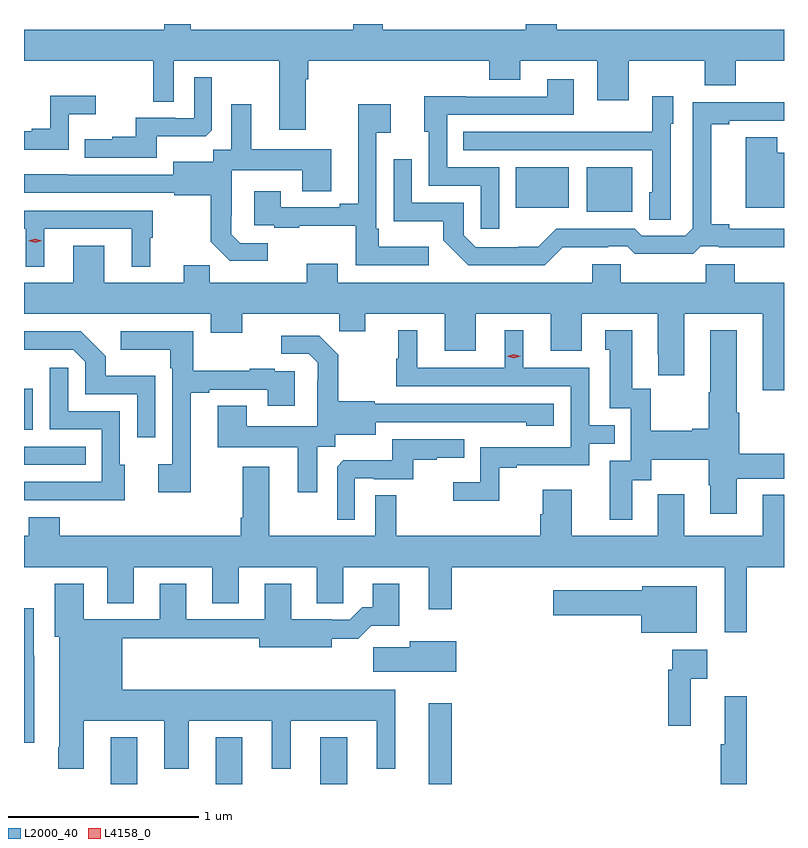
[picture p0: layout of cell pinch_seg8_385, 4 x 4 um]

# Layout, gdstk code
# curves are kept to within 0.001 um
import gdstk
lib = gdstk.Library(unit=1e-6, precision=1e-09)
def R(c, l, rs):  # rectangles x0, y0, x1, y1
    for r in rs: c.add(gdstk.rectangle(r[:2], r[2:], *l))
def A(c, l, x, y, w, h, nx, ny, dx, dy):  # array of equal rectangles
    R(c, l, [(x+i*dx, y+j*dy, x+i*dx+w, y+j*dy+h) for i in range(nx) for j in range(ny)])
def P(c, l, *ps):  # polygons
    for p in ps: c.add(gdstk.Polygon(p, *l))
L2000_40 = (2000, 40)
L4158_0 = (4158, 0)

pinch_seg8_385 = lib.new_cell('pinch_seg8_385')
A(pinch_seg8_385, L2000_40, 412.979, 1103.37, 0.14, 0.247, 3, 1, 0.552, 0)
R(pinch_seg8_385, L2000_40, [(414.653,1103.37,414.775,1103.794), (412.523,1105.05,412.847,1105.146), (412.523,1105.235,412.57,1105.45), (415.484,1106.381,415.723,1106.617), (415.112,1106.402,415.39,1106.617)])
P(pinch_seg8_385, L2000_40, [(414.007,1107.08),(414.02,1107.08),(414.02,1107.176),(414.971,1107.176),(414.971,1107.077),(415.135,1107.077),(415.135,1107.176),(415.541,1107.176),(415.541,1106.97),(415.705,1106.97),(415.705,1107.176),(416.105,1107.176),(416.105,1107.048),(416.269,1107.048),(416.269,1107.176),(416.523,1107.176),(416.523,1107.34),(415.328,1107.34),(415.328,1107.37),(415.163,1107.37),(415.163,1107.34),(414.41,1107.34),(414.41,1107.37),(414.257,1107.37),(414.257,1107.34),(413.401,1107.34),(413.401,1107.37),(413.262,1107.37),(413.262,1107.34),(412.523,1107.34),(412.523,1107.176),(413.202,1107.176),(413.202,1106.962),(413.31,1106.962),(413.31,1107.176),(413.867,1107.176),(413.867,1106.814),(414.007,1106.814)],
  [(413.221,1106.78),(413.479,1106.78),(413.511,1106.811),(413.511,1107.091),(413.418,1107.091),(413.418,1106.874),(413.318,1106.874),(413.318,1106.877),(413.111,1106.877),(413.111,1106.776),(412.987,1106.776),(412.987,1106.764),(412.843,1106.764),(412.843,1106.667),(413.221,1106.667)],
  [(415.023,1106.616),(414.75,1106.616),(414.75,1106.892),(415.417,1106.892),(415.417,1107.079),(415.277,1107.079),(415.277,1106.988),(414.847,1106.988),(414.847,1106.99),(414.629,1106.99),(414.629,1106.802),(414.654,1106.802),(414.654,1106.52),(414.927,1106.52),(414.927,1106.292),(415.023,1106.292)],
  [(412.758,1106.894),(412.9,1106.894),(412.9,1106.993),(412.66,1106.993),(412.66,1106.818),(412.565,1106.818),(412.565,1106.805),(412.523,1106.805),(412.523,1106.709),(412.758,1106.709)],
  [(415.926,1106.844),(415.939,1106.844),(415.939,1106.989),(415.83,1106.989),(415.83,1106.803),(415.513,1106.803),(415.513,1106.802),(414.835,1106.802),(414.835,1106.706),(415.83,1106.706),(415.83,1106.484),(415.814,1106.484),(415.814,1106.341),(415.926,1106.341)],
  [(415.358,1106.195),(415.598,1106.195),(415.598,1106.199),(415.698,1106.199),(415.738,1106.16),(416.045,1106.16),(416.085,1106.199),(416.179,1106.199),(416.179,1106.195),(416.523,1106.195),(416.523,1106.292),(416.236,1106.292),(416.236,1106.315),(416.141,1106.315),(416.141,1106.842),(416.236,1106.842),(416.236,1106.862),(416.523,1106.862),(416.523,1106.958),(416.043,1106.958),(416.043,1106.295),(416.004,1106.256),(415.773,1106.256),(415.737,1106.292),(415.323,1106.292),(415.229,1106.198),(415.124,1106.198),(415.124,1106.196),(414.9,1106.196),(414.837,1106.259),(414.837,1106.43),(414.564,1106.43),(414.564,1106.659),(414.468,1106.659),(414.468,1106.333),(414.73,1106.333),(414.73,1106.231),(414.86,1106.1),(415.263,1106.1)],
  [(413.806,1106.217),(413.661,1106.217),(413.614,1106.264),(413.614,1106.359),(413.616,1106.359),(413.616,1106.6),(413.987,1106.6),(413.987,1106.491),(414.139,1106.491),(414.139,1106.71),(413.719,1106.71),(413.719,1106.947),(413.615,1106.947),(413.615,1106.708),(413.52,1106.708),(413.52,1106.644),(413.309,1106.644),(413.309,1106.577),(412.523,1106.578),(412.523,1106.481),(413.313,1106.481),(413.313,1106.469),(413.505,1106.469),(413.505,1106.223),(413.605,1106.123),(413.806,1106.123)],
  [(414.652,1106.197),(414.391,1106.197),(414.391,1106.293),(414.378,1106.293),(414.378,1106.798),(414.454,1106.798),(414.454,1106.947),(414.281,1106.947),(414.281,1106.425),(414.185,1106.425),(414.185,1106.406),(413.875,1106.406),(413.875,1106.491),(413.735,1106.491),(413.735,1106.31),(413.839,1106.31),(413.839,1106.298),(413.971,1106.298),(413.971,1106.309),(414.27,1106.309),(414.27,1106.1),(414.652,1106.1)],
  [(416.523,1106.692),(416.487,1106.692),(416.487,1106.773),(416.321,1106.773),(416.321,1106.402),(416.523,1106.402)],
  [(412.63,1106.292),(413.09,1106.292),(413.09,1106.093),(413.188,1106.093),(413.188,1106.244),(413.2,1106.244),(413.2,1106.388),(412.523,1106.388),(412.523,1106.292),(412.532,1106.292),(412.532,1106.093),(412.63,1106.093)],
  [(416.523,1106.008),(416.265,1106.008),(416.265,1106.106),(416.11,1106.106),(416.11,1106.008),(415.665,1106.008),(415.665,1106.106),(415.514,1106.106),(415.514,1106.008),(414.175,1106.008),(414.175,1106.107),(414.011,1106.107),(414.011,1106.008),(413.501,1106.008),(413.501,1106.099),(413.363,1106.099),(413.363,1106.008),(412.945,1106.008),(412.945,1106.203),(412.781,1106.203),(412.781,1106.008),(412.523,1106.008),(412.523,1105.844),(413.507,1105.844),(413.507,1105.745),(413.671,1105.745),(413.671,1105.844),(414.181,1105.844),(414.181,1105.754),(414.319,1105.754),(414.319,1105.844),(414.737,1105.844),(414.737,1105.65),(414.901,1105.65),(414.901,1105.844),(415.295,1105.844),(415.295,1105.65),(415.459,1105.65),(415.459,1105.844),(415.859,1105.844),(415.859,1105.633),(415.862,1105.633),(415.862,1105.521),(415.999,1105.521),(415.999,1105.844),(416.411,1105.844),(416.411,1105.443),(416.523,1105.443)],
  [(415.723,1104.97),(415.825,1104.97),(415.825,1105.076),(416.128,1105.076),(416.128,1104.942),(416.135,1104.942),(416.135,1104.792),(416.275,1104.792),(416.275,1104.977),(416.523,1104.977),(416.523,1105.107),(416.288,1105.107),(416.288,1105.324),(416.275,1105.324),(416.275,1105.759),(416.135,1105.759),(416.135,1105.433),(416.128,1105.433),(416.128,1105.241),(416.039,1105.241),(416.039,1105.228),(415.821,1105.228),(415.821,1105.451),(415.723,1105.451),(415.723,1105.759),(415.583,1105.759),(415.583,1105.656),(415.607,1105.656),(415.607,1105.347),(415.716,1105.347),(415.716,1105.071),(415.607,1105.071),(415.607,1104.762),(415.723,1104.762)],
  [(415.023,1105.035),(415.117,1105.035),(415.117,1105.047),(415.497,1105.047),(415.497,1105.161),(415.631,1105.161),(415.631,1105.257),(415.497,1105.257),(415.497,1105.56),(415.15,1105.56),(415.15,1105.759),(415.052,1105.759),(415.052,1105.56),(414.592,1105.56),(414.592,1105.759),(414.494,1105.759),(414.494,1105.608),(414.483,1105.608),(414.483,1105.464),(415.401,1105.464),(415.401,1105.143),(414.924,1105.143),(414.924,1104.958),(414.783,1104.958),(414.783,1104.86),(415.023,1104.86)],
  [(413.214,1105.519),(412.953,1105.519),(412.953,1105.622),(412.822,1105.752),(412.523,1105.752),(412.523,1105.655),(412.782,1105.656),(412.845,1105.593),(412.845,1105.422),(413.118,1105.422),(413.118,1105.194),(413.214,1105.194)],
  [(413.401,1105.428),(413.497,1105.428),(413.497,1105.446),(413.807,1105.446),(413.807,1105.362),(413.947,1105.362),(413.947,1105.542),(413.843,1105.542),(413.843,1105.555),(413.711,1105.555),(413.711,1105.544),(413.413,1105.544),(413.413,1105.752),(413.031,1105.752),(413.031,1105.655),(413.292,1105.655),(413.292,1105.559),(413.304,1105.559),(413.304,1105.054),(413.229,1105.054),(413.229,1104.906),(413.401,1104.906)],
  [(414.067,1105.144),(414.162,1105.144),(414.162,1105.208),(414.373,1105.208),(414.373,1105.275),(415.167,1105.274),(415.167,1105.256),(415.312,1105.256),(415.312,1105.371),(414.369,1105.371),(414.369,1105.384),(414.177,1105.384),(414.177,1105.629),(414.077,1105.729),(413.877,1105.729),(413.877,1105.635),(414.021,1105.635),(414.068,1105.588),(414.068,1105.493),(414.066,1105.493),(414.066,1105.252),(413.695,1105.252),(413.695,1105.361),(413.543,1105.361),(413.543,1105.142),(413.963,1105.142),(413.963,1104.906),(414.067,1104.906)],
  [(413.053,1105.05),(413.028,1105.05),(413.028,1105.332),(412.755,1105.332),(412.755,1105.561),(412.659,1105.561),(412.659,1105.236),(412.932,1105.236),(412.932,1104.96),(412.523,1104.96),(412.523,1104.864),(412.835,1104.864),(412.835,1104.863),(413.053,1104.863)],
  [(414.264,1104.978),(414.364,1104.978),(414.364,1104.975),(414.572,1104.975),(414.572,1105.077),(414.695,1105.077),(414.695,1105.088),(414.839,1105.088),(414.839,1105.185),(414.462,1105.185),(414.462,1105.073),(414.203,1105.073),(414.171,1105.041),(414.171,1104.761),(414.264,1104.761)],
  [(415.999,1104.895),(415.859,1104.895),(415.859,1104.676),(415.405,1104.676),(415.405,1104.919),(415.253,1104.919),(415.253,1104.789),(415.241,1104.789),(415.241,1104.676),(414.481,1104.676),(414.481,1104.89),(414.372,1104.89),(414.372,1104.676),(413.815,1104.676),(413.815,1105.039),(413.675,1105.039),(413.675,1104.772),(413.663,1104.772),(413.663,1104.676),(412.711,1104.676),(412.711,1104.775),(412.547,1104.775),(412.547,1104.676),(412.523,1104.676),(412.523,1104.512),(412.961,1104.512),(412.961,1104.322),(413.101,1104.322),(413.101,1104.512),(413.513,1104.512),(413.513,1104.322),(413.653,1104.322),(413.653,1104.512),(414.065,1104.512),(414.065,1104.322),(414.204,1104.322),(414.204,1104.512),(414.653,1104.512),(414.653,1104.291),(414.775,1104.291),(414.775,1104.512),(416.21,1104.512),(416.21,1104.168),(416.327,1104.168),(416.327,1104.512),(416.523,1104.512),(416.523,1104.892),(416.411,1104.892),(416.411,1104.676),(415.999,1104.676)],
  [(412.837,1103.702),(413.261,1103.702),(413.261,1103.451),(413.389,1103.451),(413.389,1103.702),(413.828,1103.702),(413.828,1103.451),(413.926,1103.451),(413.926,1103.702),(414.38,1103.702),(414.38,1103.451),(414.478,1103.451),(414.478,1103.866),(413.041,1103.866),(413.041,1104.136),(413.762,1104.136),(413.762,1104.089),(414.142,1104.089),(414.142,1104.134),(414.281,1104.134),(414.35,1104.203),(414.499,1104.203),(414.499,1104.424),(414.359,1104.424),(414.359,1104.301),(414.304,1104.301),(414.237,1104.234),(414.143,1104.234),(414.143,1104.237),(413.929,1104.237),(413.929,1104.424),(413.789,1104.424),(413.789,1104.237),(413.377,1104.237),(413.377,1104.424),(413.237,1104.424),(413.237,1104.237),(412.837,1104.237),(412.837,1104.424),(412.685,1104.424),(412.685,1104.144),(412.709,1104.144),(412.709,1103.563),(412.702,1103.563),(412.702,1103.451),(412.837,1103.451)],
  [(416.065,1104.412),(415.776,1104.412),(415.776,1104.391),(415.308,1104.391),(415.308,1104.257),(415.772,1104.257),(415.772,1104.167),(416.065,1104.167)],
  [(412.576,1104.044),(412.575,1104.044),(412.575,1104.296),(412.523,1104.296),(412.523,1103.586),(412.576,1103.586)],
  [(414.799,1104.121),(414.554,1104.121),(414.554,1104.089),(414.36,1104.089),(414.36,1103.96),(414.799,1103.96)],
  [(416.033,1103.924),(416.119,1103.924),(416.119,1104.076),(415.935,1104.076),(415.935,1103.972),(415.915,1103.972),(415.915,1103.676),(416.033,1103.676)],
  [(416.327,1103.833),(416.21,1103.833),(416.21,1103.58),(416.191,1103.58),(416.191,1103.37),(416.327,1103.37)])
P(pinch_seg8_385, L4158_0, [(412.581,1106.219),(412.545,1106.228),(412.545,1106.228),(412.545,1106.228),(412.581,1106.239),(412.617,1106.23),(412.617,1106.23),(412.617,1106.23)],
  [(415.101,1105.612),(415.065,1105.622),(415.065,1105.622),(415.065,1105.622),(415.101,1105.632),(415.137,1105.622),(415.137,1105.622),(415.137,1105.622)])

lib.write_gds('pinch_seg8_385.gds')
